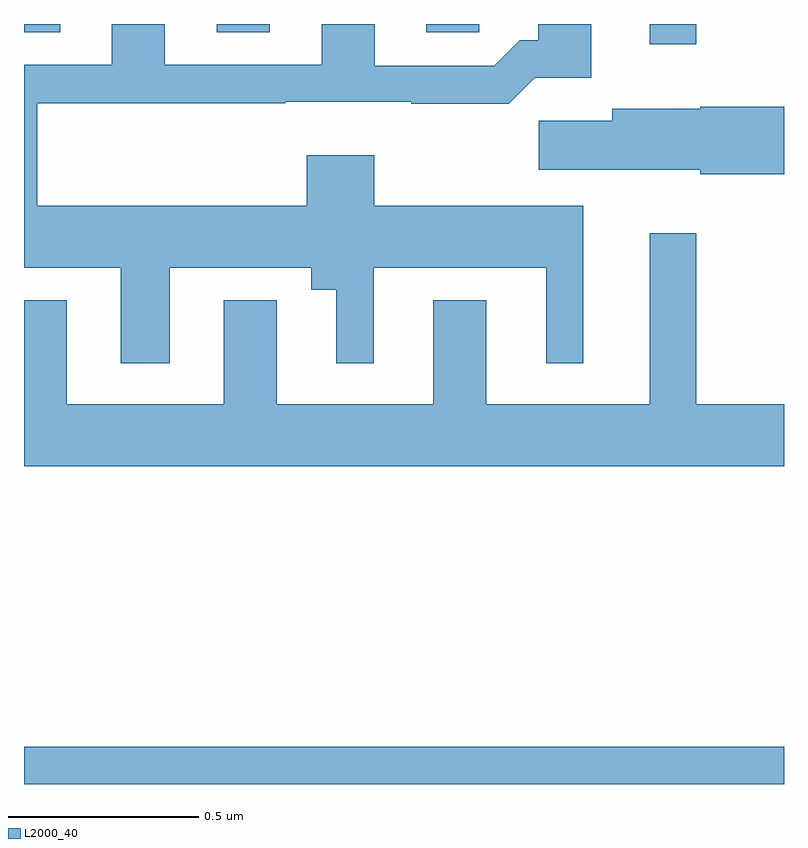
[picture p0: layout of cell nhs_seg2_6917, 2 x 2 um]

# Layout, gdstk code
import gdstk
lib = gdstk.Library(unit=1e-6, precision=1e-09)
def R(c, l, rs):  # rectangles x0, y0, x1, y1
    for r in rs: c.add(gdstk.rectangle(r[:2], r[2:], *l))
def P(c, l, *ps):  # polygons
    for p in ps: c.add(gdstk.Polygon(p, *l))
L2000_40 = (2000, 40)

nhs_seg2_6917 = lib.new_cell('nhs_seg2_6917')
R(nhs_seg2_6917, L2000_40, [(197,646.8,199,646.898), (198.647,648.747,198.769,648.8), (197,648.778,197.095,648.8), (197.507,648.778,197.647,648.8), (198.059,648.778,198.198,648.8)])
P(nhs_seg2_6917, L2000_40, [(197.383,648.158),(197.756,648.158),(197.756,648.101),(197.822,648.101),(197.822,647.907),(197.92,647.907),(197.92,648.158),(198.374,648.158),(198.374,647.907),(198.472,647.907),(198.472,648.322),(197.922,648.322),(197.922,648.454),(197.744,648.454),(197.744,648.322),(197.035,648.322),(197.035,648.592),(197.687,648.592),(197.687,648.596),(198.019,648.596),(198.019,648.59),(198.275,648.59),(198.344,648.659),(198.493,648.659),(198.493,648.8),(198.353,648.8),(198.353,648.757),(198.304,648.757),(198.237,648.69),(197.923,648.69),(197.923,648.8),(197.783,648.8),(197.783,648.693),(197.371,648.693),(197.371,648.8),(197.231,648.8),(197.231,648.693),(197,648.693),(197,648.158),(197.255,648.158),(197.255,647.907),(197.383,647.907)],
  [(199,648.582),(198.78,648.582),(198.78,648.577),(198.548,648.577),(198.548,648.545),(198.354,648.545),(198.354,648.416),(198.78,648.416),(198.78,648.404),(199,648.404)],
  [(199,647.8),(198.769,647.8),(198.769,648.25),(198.647,648.25),(198.647,647.8),(198.217,647.8),(198.217,648.073),(198.077,648.073),(198.077,647.8),(197.665,647.8),(197.665,648.073),(197.525,648.073),(197.525,647.8),(197.113,647.8),(197.113,648.073),(197,648.073),(197,647.636),(199,647.636)])

lib.write_gds('nhs_seg2_6917.gds')
